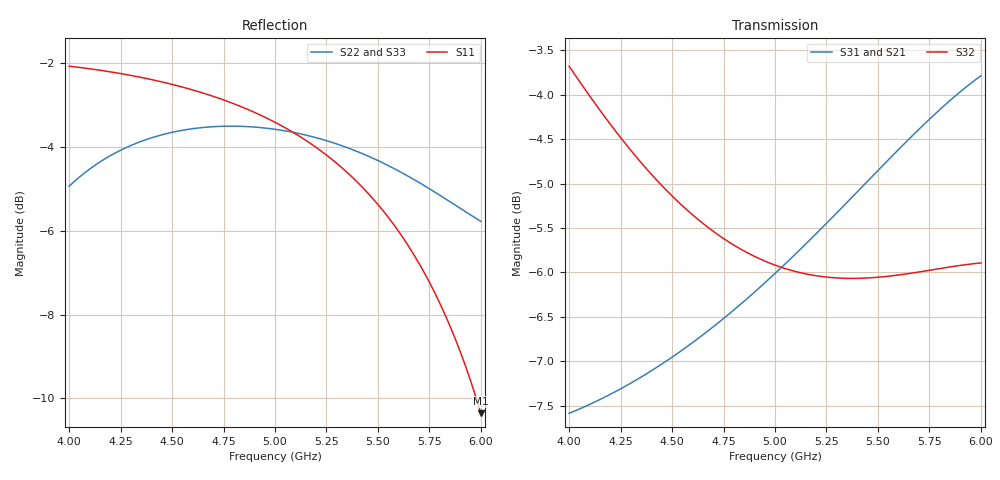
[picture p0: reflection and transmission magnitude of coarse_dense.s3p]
! yapnr rf: divider-osh-m-robust, footprint re-simulated (optimization grid)
! spec sha256 77fdf852d0d26631bb656d9616c4182d62ef43e9964dceb588096e13d75818f1
! 3 ports renormalized to 50 ohm, e^(+jwt) convention
# GHz S RI R 50
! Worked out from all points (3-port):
!   81 points, 4 GHz to 6 GHz, reference 50 ohm
!   strongest paths, dB at 4 GHz, 4.5 GHz, 5 GHz, 5.5 GHz, 6 GHz:
!     S32: -3.7, -5.1, -5.9, -6.1, -5.9
!     S31: -7.6, -7.0, -6.0, -4.9, -3.8
!     S21: -7.6, -7.0, -6.0, -4.9, -3.8
!   lowest |S11| = -10.4 dB at 6 GHz (marker M1), VSWR 1.87, Z = 32.1 + j18.2 ohm
!   |S11| at or under -10 dB: 5.977882 GHz to end of sweep
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4  -0.7536 0.2318  -0.1736 -0.3802  -0.1736 -0.3802
   -0.1735 -0.3797  -0.5166 -0.233  -0.1527 0.6368
   -0.1735 -0.3797  -0.1527 0.6368  -0.5166 -0.233
4.225  -0.7254 0.2711  -0.2117 -0.3743  -0.2117 -0.3743
       -0.2116 -0.3737  -0.606 -0.1365  -0.00452 0.6021
       -0.2116 -0.3737  -0.00452 0.6021  -0.606 -0.1365
4.45  -0.689 0.3089  -0.2539 -0.3663  -0.2539 -0.3663
      -0.2537 -0.3657  -0.652 -0.0315  0.112 0.5497
      -0.2537 -0.3657  0.112 0.5497  -0.652 -0.0315
4.7  -0.6372 0.3472  -0.307 -0.3531  -0.307 -0.3531
     -0.3066 -0.3524  -0.6628 0.0798  0.2151 0.4829
     -0.3066 -0.3524  0.2151 0.4829  -0.6628 0.0798
5  -0.5564 0.3833  -0.3806 -0.3265  -0.3806 -0.3265
   -0.38 -0.3258  -0.6341 0.1931  0.3158 0.3954
   -0.38 -0.3258  0.3158 0.3954  -0.6341 0.1931
5.3  -0.4528 0.399  -0.465 -0.2795  -0.465 -0.2795
     -0.4641 -0.2788  -0.5743 0.2746  0.4001 0.2959
     -0.4641 -0.2788  0.4001 0.2959  -0.5743 0.2746
5.6  -0.3286 0.3779  -0.5542 -0.1995  -0.5542 -0.1995
     -0.5531 -0.1989  -0.4995 0.3161  0.4675 0.1761
     -0.5531 -0.1989  0.4675 0.1761  -0.4995 0.3161
5.825  -0.2306 0.3252  -0.6144 -0.1098  -0.6144 -0.1098
       -0.613 -0.1093  -0.4466 0.3177  0.4996 0.0685
       -0.613 -0.1093  0.4996 0.0685  -0.4466 0.3177
5.925  -0.1895 0.2893  -0.6355 -0.0609  -0.6355 -0.0609
       -0.6341 -0.0605  -0.4274 0.3108  0.506 0.0159
       -0.6341 -0.0605  0.506 0.0159  -0.4274 0.3108
6  -0.1612 0.2572  -0.648 -0.0208  -0.648 -0.0208
   -0.6465 -0.0205  -0.4159 0.303  0.5068 -0.0249
   -0.6465 -0.0205  0.5068 -0.0249  -0.4159 0.303
